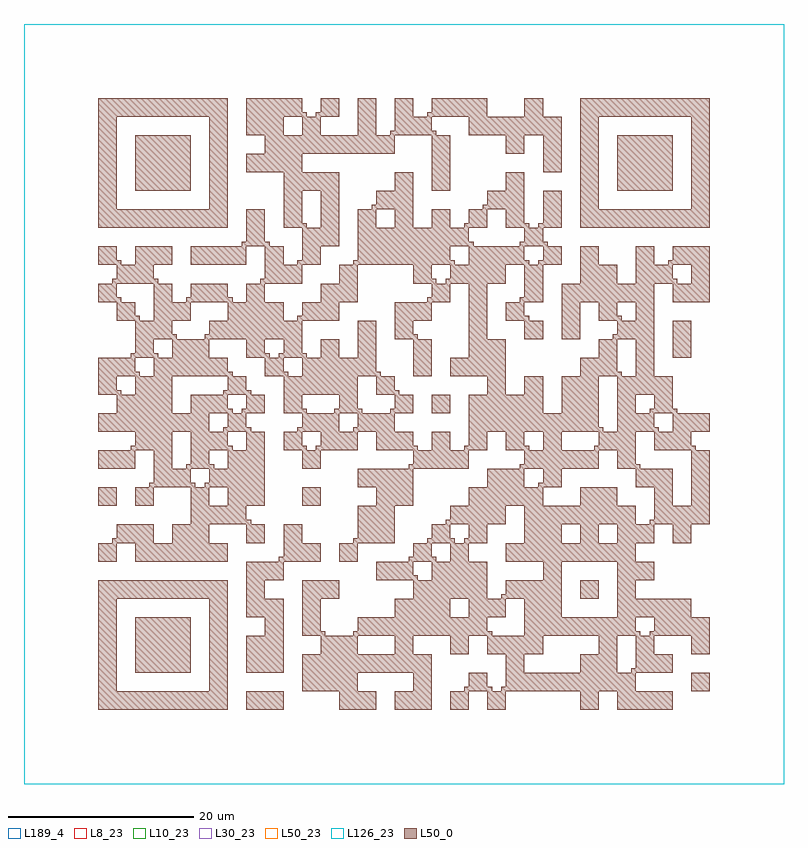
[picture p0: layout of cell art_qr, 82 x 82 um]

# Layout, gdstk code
import gdstk
lib = gdstk.Library(unit=1e-6, precision=1e-09)
def R(c, l, rs):  # rectangles x0, y0, x1, y1
    for r in rs: c.add(gdstk.rectangle(r[:2], r[2:], *l))
def P(c, l, *ps):  # polygons
    for p in ps: c.add(gdstk.Polygon(p, *l))
L8_23 = (8, 23)
L10_23 = (10, 23)
L30_23 = (30, 23)
L50_0 = (50, 0)
L50_23 = (50, 23)
L126_23 = (126, 23)
L189_4 = (189, 4)

art_qr = lib.new_cell('art_qr')
R(art_qr, L8_23, [(0,0,82,82)])
R(art_qr, L10_23, [(0,0,82,82)])
R(art_qr, L30_23, [(0,0,82,82)])
R(art_qr, L50_0, [(24,8,28,10), (72,10,74,12), (12,12,18,18), (60,20,62,22), (8,30,10,32), (30,30,32,32), (44,40,46,42), (70,46,72,50), (12,64,18,70), (64,64,70,70)])
P(art_qr, L50_0, [(8,8),(8,20),(10,20),(10,10),(20,10),(20,20),(8,20),(8,22),(22,22),(22,8)],
  [(24,12),(24,16),(26,16),(26,18),(24,18),(24,24),(27.5,24),(27.5,24.5),(28,24.5),(28,28),(30,28),(30,26),(32,26),(32,24),(28,24),(28,22),(26,22),(26,20),(28,20),(28,12)],
  [(8,60),(8,72),(10,72),(10,62),(20,62),(20,72),(8,72),(8,74),(22,74),(22,60)],
  [(34,8),(34,10),(30,10),(30,14),(32,14),(32,16),(30,16),(30,22),(34,22),(34,20),(32,20),(32,16.5),(32.5,16.5),(32.5,16),(36,16),(36,14),(40,14),(40,16),(35.5,16),(35.5,16.5),(36,16.5),(36,18),(40,18),(40,20),(46,20),(46,18),(48,18),(48,20),(42,20),(42,22),(38,22),(38,24),(42,24),(42,22.5),(42.5,22.5),(42.5,22),(44,22),(44,24),(41.5,24),(41.5,24.5),(42,24.5),(42,26),(44,26),(44,24.5),(44.5,24.5),(44.5,24),(46,24),(46,26),(43.5,26),(43.5,26.5),(44,26.5),(44,28),(46,28),(46,26.5),(46.5,26.5),(46.5,26),(47.5,26),(47.5,26.5),(48,26.5),(48,28),(45.5,28),(45.5,28.5),(46,28.5),(46,30),(52,30),(52,28),(50,28),(50,26),(48,26),(48,24),(50,24),(50,20),(52,20),(52,18),(50,18),(50,16.5),(50.5,16.5),(50.5,16),(56,16),(56,14),(54,14),(54,12),(60,12),(60,14),(62,14),(62,16),(64,16),(64,12),(65.5,12),(65.5,12.5),(66,12.5),(66,16),(54,16),(54,20),(51.5,20),(51.5,20.5),(52,20.5),(52,22),(56,22),(56,24),(58,24),(58,18),(66,18),(66,16.5),(66.5,16.5),(66.5,16),(67.5,16),(67.5,16.5),(68,16.5),(68,18),(64,18),(64,24),(52,24),(52,26),(54,26),(54,28),(58,28),(58,26),(60,26),(60,28),(62,28),(62,26),(64,26),(64,28),(54,28),(54,30),(48,30),(48,32),(50,32),(50,34),(54,34),(54,32),(55.5,32),(55.5,32.5),(56,32.5),(56,34),(53.5,34),(53.5,34.5),(54,34.5),(54,36),(52,36),(52,38),(50,38),(50,36),(48,36),(48,34),(42,34),(42,30),(40,30),(40,26),(36,26),(36,24),(34,24),(34,26),(35.5,26),(35.5,26.5),(36,26.5),(36,30),(38,30),(38,32),(36,32),(36,34),(41.5,34),(41.5,34.5),(42,34.5),(42,36),(38,36),(38,38),(36,38),(36,36),(32,36),(32,34),(30,34),(30,36),(28,36),(28,38),(30,38),(30,36.5),(30.5,36.5),(30.5,36),(31.5,36),(31.5,36.5),(32,36.5),(32,38),(29.5,38),(29.5,38.5),(30,38.5),(30,40),(28,40),(28,42),(30,42),(30,40.5),(30.5,40.5),(30.5,40),(34,40),(34,38),(35.5,38),(35.5,38.5),(36,38.5),(36,40),(33.5,40),(33.5,40.5),(34,40.5),(34,42),(28,42),(28,44),(26,44),(26,46),(24,46),(24,48),(20,48),(20,46),(22,46),(22,44.5),(22.5,44.5),(22.5,44),(24,44),(24,42.5),(24.5,42.5),(24.5,42),(26,42),(26,40),(24,40),(24,38.5),(24.5,38.5),(24.5,38),(26,38),(26,30),(24,30),(24,28.5),(24.5,28.5),(24.5,28),(26,28),(26,26),(24,26),(24,28),(20,28),(20,26),(22,26),(22,24),(12,24),(12,26),(10,26),(10,24),(8,24),(8,26),(9.5,26),(9.5,26.5),(10,26.5),(10,28),(14,28),(14,26),(16,26),(16,28),(18,28),(18,32),(14,32),(14,30),(12,30),(12,32),(13.5,32),(13.5,32.5),(14,32.5),(14,36),(12,36),(12,34),(8,34),(8,36),(11.5,36),(11.5,36.5),(12,36.5),(12,38),(16,38),(16,34),(18,34),(18,32.5),(18.5,32.5),(18.5,32),(20,32),(20,30),(22,30),(22,32),(19.5,32),(19.5,32.5),(20,32.5),(20,34),(17.5,34),(17.5,34.5),(18,34.5),(18,36),(20,36),(20,34.5),(20.5,34.5),(20.5,34),(22,34),(22,36),(18,36),(18,38),(8,38),(8,40),(10,40),(10,42),(8,42),(8,44),(10,44),(10,42.5),(10.5,42.5),(10.5,42),(12,42),(12,44),(8,44),(8,46),(12,46),(12,44.5),(12.5,44.5),(12.5,44),(16,44),(16,40),(20,40),(20,38),(22,38),(22,36.5),(22.5,36.5),(22.5,36),(24,36),(24,38),(21.5,38),(21.5,38.5),(22,38.5),(22,40),(18,40),(18,42),(22,42),(22,40.5),(22.5,40.5),(22.5,40),(23.5,40),(23.5,40.5),(24,40.5),(24,42),(21.5,42),(21.5,42.5),(22,42.5),(22,44),(14,44),(14,46),(11.5,46),(11.5,46.5),(12,46.5),(12,48),(14,48),(14,46.5),(14.5,46.5),(14.5,46),(16,46),(16,48),(12,48),(12,50),(10,50),(10,52),(8,52),(8,54),(10,54),(10,52.5),(10.5,52.5),(10.5,52),(12,52),(12,50.5),(12.5,50.5),(12.5,50),(14,50),(14,54),(9.5,54),(9.5,54.5),(10,54.5),(10,56),(8,56),(8,58),(10,58),(10,56.5),(10.5,56.5),(10.5,56),(12,56),(12,58),(16,58),(16,56),(14,56),(14,54.5),(14.5,54.5),(14.5,54),(16,54),(16,52),(18,52),(18,50),(16,50),(16,48.5),(16.5,48.5),(16.5,48),(26,48),(26,46.5),(26.5,46.5),(26.5,46),(28,46),(28,44.5),(28.5,44.5),(28.5,44),(36,44),(36,40.5),(36.5,40.5),(36.5,40),(39.5,40),(39.5,40.5),(40,40.5),(40,42),(38,42),(38,44),(30,44),(30,46),(27.5,46),(27.5,46.5),(28,46.5),(28,48),(19.5,48),(19.5,48.5),(20,48.5),(20,50),(22,50),(22,52),(17.5,52),(17.5,52.5),(18,52.5),(18,54),(22,54),(22,52.5),(22.5,52.5),(22.5,52),(24,52),(24,54),(25.5,54),(25.5,54.5),(26,54.5),(26,58),(24,58),(24,56),(18,56),(18,58),(23.5,58),(23.5,58.5),(24,58.5),(24,62),(26,62),(26,58.5),(26.5,58.5),(26.5,58),(28,58),(28,56),(29.5,56),(29.5,56.5),(30,56.5),(30,60),(28,60),(28,64),(30,64),(30,60.5),(30.5,60.5),(30.5,60),(32,60),(32,64),(28,64),(28,66),(24,66),(24,68),(26,68),(26,70),(24,70),(24,72),(28,72),(28,70),(30,70),(30,72),(24,72),(24,74),(30,74),(30,72.5),(30.5,72.5),(30.5,72),(31.5,72),(31.5,72.5),(32,72.5),(32,74),(34,74),(34,72),(32,72),(32,70),(36,70),(36,74),(38,74),(38,70),(39.5,70),(39.5,70.5),(40,70.5),(40,74),(42,74),(42,72),(43.5,72),(43.5,72.5),(44,72.5),(44,74),(50,74),(50,72),(54,72),(54,74),(56,74),(56,72),(58,72),(58,66),(56,66),(56,70),(54,70),(54,68),(52,68),(52,70),(48,70),(48,72),(44,72),(44,70.5),(44.5,70.5),(44.5,70),(46,70),(46,64),(44,64),(44,70),(40,70),(40,68),(30,68),(30,66),(34,66),(34,58),(32,58),(32,56),(30,56),(30,54),(26,54),(26,52),(28,52),(28,50),(29.5,50),(29.5,50.5),(30,50.5),(30,52),(32,52),(32,54),(34,54),(34,56),(36,56),(36,52),(34,52),(34,50),(30,50),(30,46.5),(30.5,46.5),(30.5,46),(32,46),(32,48),(34,48),(34,46),(36,46),(36,50),(38,50),(38,44.5),(38.5,44.5),(38.5,44),(40,44),(40,42.5),(40.5,42.5),(40.5,42),(42,42),(42,40),(40,40),(40,38),(42,38),(42,36.5),(42.5,36.5),(42.5,36),(44,36),(44,38),(46,38),(46,36),(47.5,36),(47.5,36.5),(48,36.5),(48,38),(54,38),(54,36.5),(54.5,36.5),(54.5,36),(56,36),(56,38),(58,38),(58,36),(62,36),(62,34),(58,34),(58,32),(56,32),(56,30),(60,30),(60,32),(64,32),(64,30),(66,30),(66,28),(67.5,28),(67.5,28.5),(68,28.5),(68,32),(66,32),(66,34),(64,34),(64,36),(61.5,36),(61.5,36.5),(62,36.5),(62,38),(48,38),(48,42),(50,42),(50,44),(46,44),(46,46),(48,46),(48,54),(46,54),(46,52),(44,52),(44,50),(42,50),(42,48.5),(42.5,48.5),(42.5,48),(44,48),(44,44),(42,44),(42,48),(40,48),(40,52),(43.5,52),(43.5,52.5),(44,52.5),(44,54),(42,54),(42,56),(44,56),(44,54.5),(44.5,54.5),(44.5,54),(45.5,54),(45.5,54.5),(46,54.5),(46,56),(35.5,56),(35.5,56.5),(36,56.5),(36,58),(46,58),(46,56.5),(46.5,56.5),(46.5,56),(48,56),(48,58),(36,58),(36,62),(38,62),(38,60),(40,60),(40,62),(37.5,62),(37.5,62.5),(38,62.5),(38,64),(40,64),(40,66),(42,66),(42,60),(44,60),(44,62),(46,62),(46,60),(47.5,60),(47.5,60.5),(48,60.5),(48,62),(50,62),(50,60),(48,60),(48,58.5),(48.5,58.5),(48.5,58),(54,58),(54,56.5),(54.5,56.5),(54.5,56),(55.5,56),(55.5,56.5),(56,56.5),(56,58),(53.5,58),(53.5,58.5),(54,58.5),(54,60),(52,60),(52,62),(49.5,62),(49.5,62.5),(50,62.5),(50,64),(52,64),(52,66),(54,66),(54,60.5),(54.5,60.5),(54.5,60),(55.5,60),(55.5,60.5),(56,60.5),(56,64),(58,64),(58,60),(56,60),(56,58.5),(56.5,58.5),(56.5,58),(58,58),(58,56),(56,56),(56,52),(54,52),(54,50.5),(54.5,50.5),(54.5,50),(56,50),(56,48),(54,48),(54,50),(52,50),(52,52),(53.5,52),(53.5,52.5),(54,52.5),(54,56),(52,56),(52,54),(50,54),(50,48),(52,48),(52,42),(54,42),(54,44),(56,44),(56,40),(58,40),(58,44),(62,44),(62,38.5),(62.5,38.5),(62.5,38),(66,38),(66,34.5),(66.5,34.5),(66.5,34),(70,34),(70,30),(72,30),(72,36),(68,36),(68,38),(64,38),(64,42),(66,42),(66,40),(68,40),(68,38.5),(68.5,38.5),(68.5,38),(70,38),(70,40),(67.5,40),(67.5,40.5),(68,40.5),(68,42),(64,42),(64,44),(60,44),(60,46),(62,46),(62,48),(64,48),(64,44.5),(64.5,44.5),(64.5,44),(66,44),(66,48),(63.5,48),(63.5,48.5),(64,48.5),(64,50),(62,50),(62,52),(60,52),(60,48),(58,48),(58,52),(64,52),(64,50.5),(64.5,50.5),(64.5,50),(66,50),(66,52),(58,52),(58,54),(60,54),(60,58),(62,58),(62,56),(64,56),(64,54),(66,54),(66,58),(68,58),(68,56),(70,56),(70,54.5),(70.5,54.5),(70.5,54),(72,54),(72,56),(69.5,56),(69.5,56.5),(70,56.5),(70,58),(74,58),(74,52),(70,52),(70,54),(68,54),(68,44),(70,44),(70,40.5),(70.5,40.5),(70.5,40),(74,40),(74,38),(72,38),(72,36.5),(72.5,36.5),(72.5,36),(74,36),(74,28),(72,28),(72,26),(70,26),(70,28),(68,28),(68,26),(66,26),(66,24),(68,24),(68,22),(66,22),(66,20),(72,20),(72,18),(74,18),(74,14),(72,14),(72,16),(68,16),(68,14),(70,14),(70,12),(66,12),(66,10),(70,10),(70,8),(64,8),(64,10),(62,10),(62,8),(60,8),(60,10),(52,10),(52,8),(50,8),(50,10),(48,10),(48,8),(46,8),(46,10),(47.5,10),(47.5,10.5),(48,10.5),(48,12),(50,12),(50,10.5),(50.5,10.5),(50.5,10),(51.5,10),(51.5,10.5),(52,10.5),(52,14),(50,14),(50,16),(48,16),(48,14),(46,14),(46,16),(42,16),(42,14),(44,14),(44,8),(40,8),(40,10),(42,10),(42,12),(36,12),(36,10),(38,10),(38,8)],
  [(60,60),(60,72),(62,72),(62,62),(72,62),(72,72),(60,72),(60,74),(74,74),(74,60)])
R(art_qr, L50_23, [(0,0,82,82)])
R(art_qr, L126_23, [(0,0,82,82)])
R(art_qr, L189_4, [(0,0,82,82)])

lib.write_gds('art_qr.gds')
